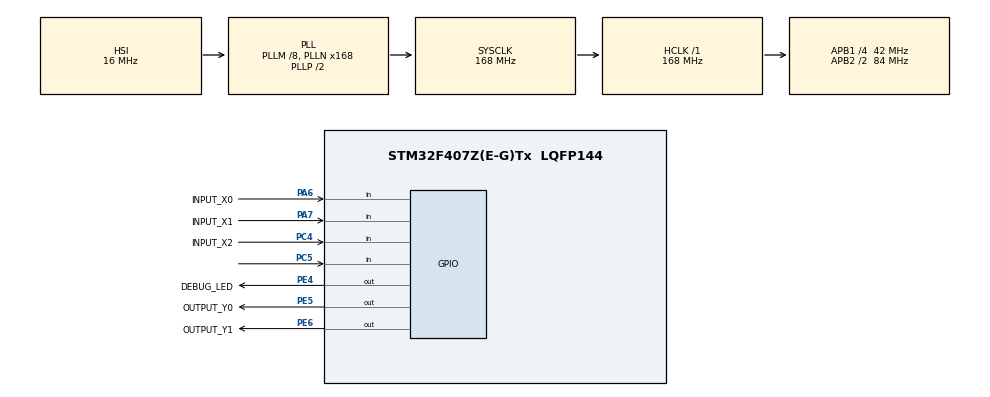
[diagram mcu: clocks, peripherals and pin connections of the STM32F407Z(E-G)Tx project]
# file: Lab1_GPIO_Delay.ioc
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Mcu.Family=STM32F4
Mcu.Name=STM32F407Z(E-G)Tx
Mcu.Package=LQFP144
NVIC.PriorityGroup=NVIC_PRIORITYGROUP_4
PA13.Mode=Serial_Wire
PA13.Signal=SYS_JTMS-SWDIO
PA14.Mode=Serial_Wire
PA14.Signal=SYS_JTCK-SWCLK
PA6.GPIO_Label=INPUT_X0
PA6.Signal=GPIO_Input
PA7.GPIO_Label=INPUT_X1
PA7.Signal=GPIO_Input
PC4.GPIO_Label=INPUT_X2
PC4.Signal=GPIO_Input
PC5.Signal=GPIO_Input
PE4.GPIO_Label=DEBUG_LED
PE4.Signal=GPIO_Output
PE5.GPIO_Label=OUTPUT_Y0
PE5.Signal=GPIO_Output
PE6.GPIO_Label=OUTPUT_Y1
PE6.Signal=GPIO_Output
PH0-OSC_IN.Mode=HSE-External-Oscillator
PH0-OSC_IN.Signal=RCC_OSC_IN
PH1-OSC_OUT.Mode=HSE-External-Oscillator
PH1-OSC_OUT.Signal=RCC_OSC_OUT
ProjectManager.HeapSize=0x200
ProjectManager.StackSize=0x400
ProjectManager.TargetToolchain=STM32CubeIDE
RCC.48MHZClocksFreq_Value=84000000
RCC.AHBFreq_Value=168000000
RCC.APB1CLKDivider=RCC_HCLK_DIV4
RCC.APB1Freq_Value=42000000
RCC.APB1TimFreq_Value=84000000
RCC.APB2CLKDivider=RCC_HCLK_DIV2
RCC.APB2Freq_Value=84000000
RCC.APB2TimFreq_Value=168000000
RCC.CortexFreq_Value=168000000
RCC.HCLKFreq_Value=168000000
RCC.HSE_VALUE=8000000
RCC.HSI_VALUE=16000000
RCC.LSE_VALUE=32768
RCC.PLLM=8
RCC.PLLN=168
RCC.SYSCLKFreq_VALUE=168000000
RCC.SYSCLKSource=RCC_SYSCLKSOURCE_PLLCLK
RCC.VCOOutputFreq_Value=336000000
board=custom

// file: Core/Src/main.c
/* USER CODE BEGIN Header */
/**
  ******************************************************************************
  * @file           : main.c
  * @brief          : Main program body
  ******************************************************************************
  * @attention
  *
  * <h2><center>&copy; Copyright (c) 2024 STMicroelectronics.
  * All rights reserved.</center></h2>
  *
  * This software component is licensed by ST under BSD 3-Clause license,
  * the "License"; You may not use this file except in compliance with the
  * License. You may obtain a copy of the License at:
  *                        opensource.org/licenses/BSD-3-Clause
  *
  ******************************************************************************
  */
/* USER CODE END Header */
#include "main.h"

/* USER CODE BEGIN PD */
#define RED		0
#define YELLOW	1
#define GREEN	2
/* USER CODE END PD */

void SystemClock_Config(void);
static void MX_GPIO_Init(void);

int main(void)
{

  /* MCU Configuration--------------------------------------------------------*/

  /* Reset of all peripherals, Initializes the Flash interface and the Systick. */
  HAL_Init();

  /* Configure the system clock */
  SystemClock_Config();

  /* Initialize all configured peripherals */
  MX_GPIO_Init();

  /* Infinite loop */
  /* USER CODE BEGIN WHILE */
  int state = RED;
  int counter = 9;
  HAL_GPIO_WritePin(OUTPUT_Y0_GPIO_Port, OUTPUT_Y0_Pin, 1);
  while (1)
  {
	  switch (state) {
	  	  case RED:
	  		  if (counter == 4) {
	  			  HAL_GPIO_WritePin(OUTPUT_Y0_GPIO_Port, OUTPUT_Y0_Pin, 0);
	  			  HAL_GPIO_WritePin(DEBUG_LED_GPIO_Port, DEBUG_LED_Pin, 1);
	  			  state = GREEN;
	  		  }
	  		  break;
	  	  case GREEN:
	  		  if (counter == 1) {
				  HAL_GPIO_WritePin(DEBUG_LED_GPIO_Port, DEBUG_LED_Pin, 0);
				  HAL_GPIO_WritePin(OUTPUT_Y1_GPIO_Port, OUTPUT_Y1_Pin, 1);
				  state = YELLOW;
			  }
	  		  break;
	  	  case YELLOW:
	  		  if (counter <= 0) {
	  			  HAL_GPIO_WritePin(OUTPUT_Y1_GPIO_Port, OUTPUT_Y1_Pin, 0);
	  			  HAL_GPIO_WritePin(OUTPUT_Y0_GPIO_Port, OUTPUT_Y0_Pin, 1);
				  state = RED;
				  counter = 9;
	  		  }
	  		  break;
	  	  default:
	  		  break;
	  }
	  counter--;
	  HAL_Delay(1000);

    /* USER CODE END WHILE */

  }
}

void SystemClock_Config(void)
{
  RCC_OscInitTypeDef RCC_OscInitStruct = {0};
  RCC_ClkInitTypeDef RCC_ClkInitStruct = {0};

  /** Configure the main internal regulator output voltage
  */
  __HAL_RCC_PWR_CLK_ENABLE();
  __HAL_PWR_VOLTAGESCALING_CONFIG(PWR_REGULATOR_VOLTAGE_SCALE1);
  /** Initializes the RCC Oscillators according to the specified parameters
  * in the RCC_OscInitTypeDef structure.
  */
  RCC_OscInitStruct.OscillatorType = RCC_OSCILLATORTYPE_HSI;
  RCC_OscInitStruct.HSIState = RCC_HSI_ON;
  RCC_OscInitStruct.HSICalibrationValue = RCC_HSICALIBRATION_DEFAULT;
  RCC_OscInitStruct.PLL.PLLState = RCC_PLL_ON;
  RCC_OscInitStruct.PLL.PLLSource = RCC_PLLSOURCE_HSI;
  RCC_OscInitStruct.PLL.PLLM = 8;
  RCC_OscInitStruct.PLL.PLLN = 168;
  RCC_OscInitStruct.PLL.PLLP = RCC_PLLP_DIV2;
  RCC_OscInitStruct.PLL.PLLQ = 4;
  if (HAL_RCC_OscConfig(&RCC_OscInitStruct) != HAL_OK)
  {
    Error_Handler();
  }
  /** Initializes the CPU, AHB and APB buses clocks
  */
  RCC_ClkInitStruct.ClockType = RCC_CLOCKTYPE_HCLK|RCC_CLOCKTYPE_SYSCLK
                              |RCC_CLOCKTYPE_PCLK1|RCC_CLOCKTYPE_PCLK2;
  RCC_ClkInitStruct.SYSCLKSource = RCC_SYSCLKSOURCE_PLLCLK;
  RCC_ClkInitStruct.AHBCLKDivider = RCC_SYSCLK_DIV1;
  RCC_ClkInitStruct.APB1CLKDivider = RCC_HCLK_DIV4;
  RCC_ClkInitStruct.APB2CLKDivider = RCC_HCLK_DIV2;

  if (HAL_RCC_ClockConfig(&RCC_ClkInitStruct, FLASH_LATENCY_5) != HAL_OK)
  {
    Error_Handler();
  }
}

static void MX_GPIO_Init(void)
{
  GPIO_InitTypeDef GPIO_InitStruct = {0};

  /* GPIO Ports Clock Enable */
  __HAL_RCC_GPIOE_CLK_ENABLE();
  __HAL_RCC_GPIOH_CLK_ENABLE();
  __HAL_RCC_GPIOA_CLK_ENABLE();
  __HAL_RCC_GPIOC_CLK_ENABLE();

  /*Configure GPIO pin Output Level */
  HAL_GPIO_WritePin(GPIOE, DEBUG_LED_Pin|OUTPUT_Y0_Pin|OUTPUT_Y1_Pin, GPIO_PIN_RESET);

  /*Configure GPIO pins : DEBUG_LED_Pin OUTPUT_Y0_Pin OUTPUT_Y1_Pin */
  GPIO_InitStruct.Pin = DEBUG_LED_Pin|OUTPUT_Y0_Pin|OUTPUT_Y1_Pin;
  GPIO_InitStruct.Mode = GPIO_MODE_OUTPUT_PP;
  GPIO_InitStruct.Pull = GPIO_NOPULL;
  GPIO_InitStruct.Speed = GPIO_SPEED_FREQ_LOW;
  HAL_GPIO_Init(GPIOE, &GPIO_InitStruct);

  /*Configure GPIO pins : INPUT_X0_Pin INPUT_X1_Pin */
  GPIO_InitStruct.Pin = INPUT_X0_Pin|INPUT_X1_Pin;
  GPIO_InitStruct.Mode = GPIO_MODE_INPUT;
  GPIO_InitStruct.Pull = GPIO_NOPULL;
  HAL_GPIO_Init(GPIOA, &GPIO_InitStruct);

  /*Configure GPIO pins : INPUT_X2_Pin PC5 */
  GPIO_InitStruct.Pin = INPUT_X2_Pin|GPIO_PIN_5;
  GPIO_InitStruct.Mode = GPIO_MODE_INPUT;
  GPIO_InitStruct.Pull = GPIO_NOPULL;
  HAL_GPIO_Init(GPIOC, &GPIO_InitStruct);

}

void Error_Handler(void)
{
  __disable_irq();
  while (1)
  {
  }
}

/************************ (C) COPYRIGHT STMicroelectronics *****END OF FILE****/
